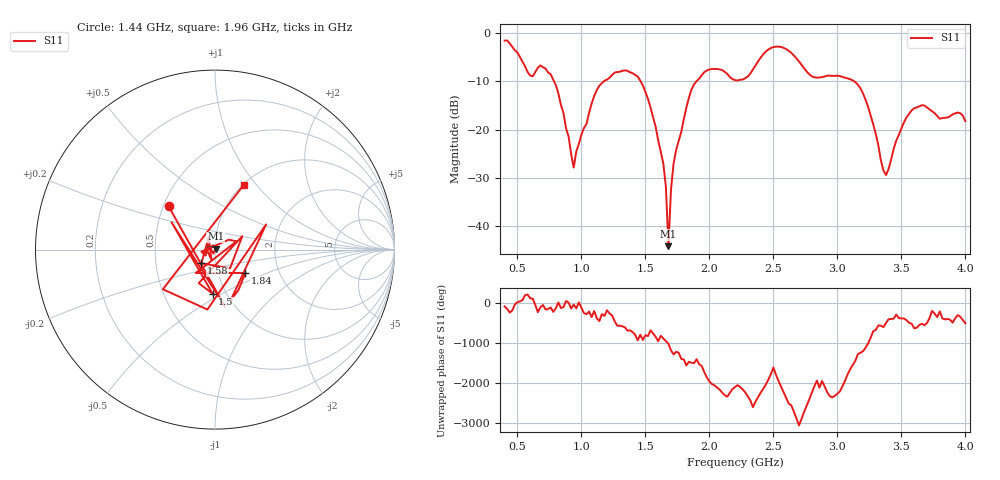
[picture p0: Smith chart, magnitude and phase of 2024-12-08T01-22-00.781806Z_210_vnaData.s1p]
!Created with skrf (http://scikit-rf.org).
# Hz S RI R 50.0
!freq ReS11 ImS11
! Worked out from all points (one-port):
!   181 points, 400 MHz to 4 GHz, reference 50 ohm
!   lowest |S11| = -44.1 dB at 1.68 GHz (marker M1), VSWR 1.01, Z = 50.4 + j0.494 ohm
!   |S11| at or under -10 dB: 785.8 MHz to 1.175 GHz (389.5 MHz wide, 39.7 % of centre); 1.462 GHz to 1.899 GHz (436.8 MHz wide, 26 % of centre); 3.13 GHz to end of sweep
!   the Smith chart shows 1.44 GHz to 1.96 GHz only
!   S11 on the Smith chart (normalised r, x): 1.44 GHz: 0.53, +0.29; 1.5 GHz: 0.86, -0.45; 1.58 GHz: 0.85, -0.13; 1.84 GHz: 1.35, -0.37; 1.96 GHz: 1.01, +0.86
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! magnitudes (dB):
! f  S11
! 400 MHz  -1.6
! 600 MHz  -8.8
! 680 MHz  -6.7
! 760 MHz  -8.5
! 860 MHz  -16.6
! 940 MHz  -27.8
! 1.12 GHz  -11.8
! 1.3 GHz  -8.0
! 1.44 GHz  -9.0
! 1.5 GHz  -12.2
! 1.58 GHz  -19.4
! 1.66 GHz  -31.8
! 1.68 GHz  -44.1
! 1.7 GHz  -32.4
! 1.72 GHz  -27.0
! 1.76 GHz  -22.3
! 1.84 GHz  -13.4
! 1.96 GHz  -8.1
! 2.2 GHz  -9.8
! 2.48 GHz  -3.1
! 2.66 GHz  -4.7
! 2.8 GHz  -9.0
! 3.1 GHz  -9.6
! 3.22 GHz  -13.8
! 3.38 GHz  -29.4
! 3.56 GHz  -16.7
! 3.66 GHz  -14.9
! 4 GHz  -18.2
